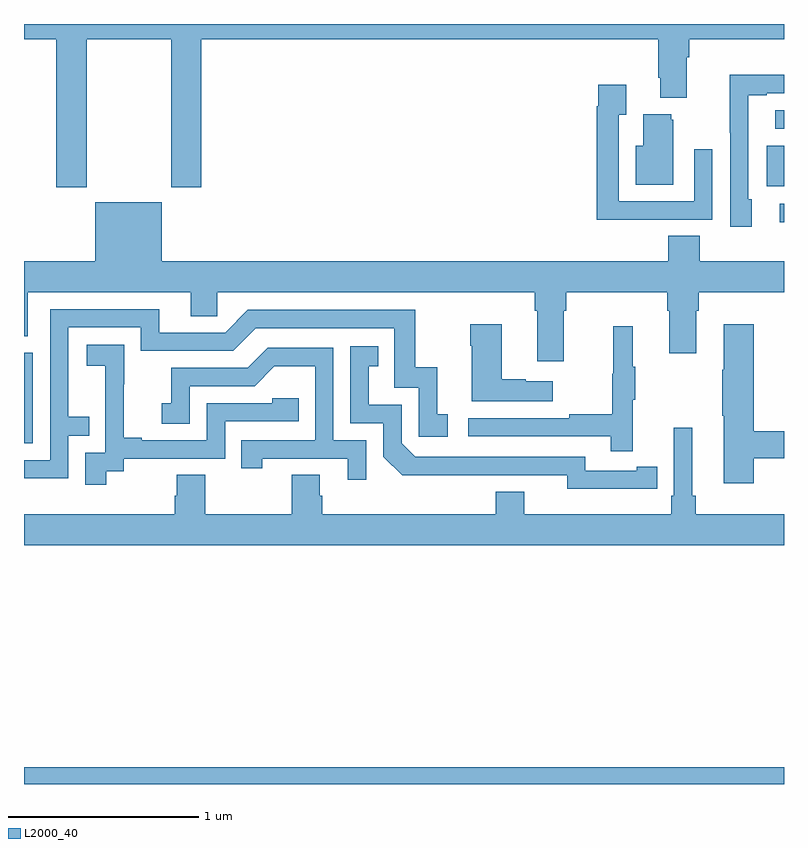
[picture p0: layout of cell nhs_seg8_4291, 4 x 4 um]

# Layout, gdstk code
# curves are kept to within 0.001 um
import gdstk
lib = gdstk.Library(unit=1e-6, precision=1e-09)
def R(c, l, rs):  # rectangles x0, y0, x1, y1
    for r in rs: c.add(gdstk.rectangle(r[:2], r[2:], *l))
def P(c, l, *ps):  # polygons
    for p in ps: c.add(gdstk.Polygon(p, *l))
L2000_40 = (2000, 40)

nhs_seg8_4291 = lib.new_cell('nhs_seg8_4291')
R(nhs_seg8_4291, L2000_40, [(373,1125.9,377,1125.988), (373,1127.694,373.047,1128.171), (376.977,1128.857,377,1128.954), (376.91,1129.046,377,1129.258), (376.953,1129.35,377,1129.446)])
P(nhs_seg8_4291, L2000_40, [(373.329,1129.82),(373.774,1129.82),(373.774,1129.041),(373.934,1129.041),(373.934,1129.82),(376.337,1129.82),(376.337,1129.618),(376.349,1129.618),(376.349,1129.511),(376.489,1129.511),(376.489,1129.724),(376.502,1129.724),(376.502,1129.82),(377,1129.82),(377,1129.9),(373,1129.9),(373,1129.82),(373.169,1129.82),(373.169,1129.041),(373.329,1129.041)],
  [(376.831,1128.978),(376.812,1128.978),(376.812,1129.524),(376.909,1129.524),(376.909,1129.536),(377,1129.536),(377,1129.634),(376.714,1129.634),(376.714,1129.327),(376.716,1129.327),(376.716,1128.834),(376.831,1128.834)],
  [(376.307,1128.87),(376.623,1128.87),(376.623,1129.24),(376.527,1129.24),(376.527,1128.966),(376.131,1128.966),(376.131,1129.423),(376.171,1129.423),(376.171,1129.579),(376.023,1129.579),(376.023,1129.466),(376.015,1129.466),(376.015,1128.869),(376.307,1128.869)],
  [(376.417,1129.395),(376.406,1129.395),(376.406,1129.426),(376.259,1129.426),(376.259,1129.258),(376.22,1129.258),(376.22,1129.055),(376.417,1129.055)],
  [(375.841,1128.392),(375.854,1128.392),(375.854,1128.488),(376.385,1128.488),(376.385,1128.392),(376.397,1128.392),(376.397,1128.168),(376.537,1128.168),(376.537,1128.392),(376.55,1128.392),(376.55,1128.488),(377,1128.488),(377,1128.652),(376.556,1128.652),(376.556,1128.785),(376.391,1128.785),(376.391,1128.652),(373.726,1128.652),(373.726,1128.961),(373.376,1128.961),(373.376,1128.652),(373,1128.652),(373,1128.256),(373.021,1128.256),(373.021,1128.488),(373.877,1128.488),(373.877,1128.361),(374.016,1128.361),(374.016,1128.488),(375.689,1128.488),(375.689,1128.392),(375.701,1128.392),(375.701,1128.126),(375.841,1128.126)],
  [(373.233,1127.733),(373.343,1127.733),(373.343,1127.834),(373.233,1127.834),(373.233,1128.303),(373.614,1128.303),(373.614,1128.18),(374.1,1128.18),(374.22,1128.3),(374.949,1128.3),(374.949,1127.985),(375.078,1127.985),(375.078,1127.727),(375.229,1127.727),(375.229,1127.847),(375.176,1127.847),(375.176,1128.094),(375.058,1128.094),(375.058,1128.396),(374.178,1128.396),(374.058,1128.276),(373.711,1128.276),(373.711,1128.399),(373.137,1128.399),(373.137,1127.604),(373,1127.604),(373,1127.508),(373.233,1127.508)],
  [(376.841,1127.614),(377,1127.614),(377,1127.756),(376.841,1127.756),(376.841,1128.319),(376.682,1128.319),(376.682,1128.08),(376.675,1128.08),(376.675,1127.839),(376.682,1127.839),(376.682,1127.484),(376.841,1127.484)],
  [(375.784,1128.019),(375.641,1128.019),(375.641,1128.029),(375.514,1128.029),(375.514,1128.319),(375.349,1128.319),(375.349,1128.206),(375.356,1128.206),(375.356,1127.915),(375.784,1127.915)],
  [(376.205,1127.923),(376.216,1127.923),(376.216,1128.097),(376.205,1128.097),(376.205,1128.31),(376.102,1128.31),(376.102,1128.06),(376.095,1128.06),(376.095,1127.846),(375.871,1127.846),(375.871,1127.826),(375.339,1127.826),(375.339,1127.73),(376.087,1127.73),(376.087,1127.652),(376.205,1127.652)],
  [(373.432,1127.545),(373.524,1127.545),(373.524,1127.613),(374.058,1127.613),(374.058,1127.808),(374.447,1127.808),(374.447,1127.931),(374.307,1127.931),(374.307,1127.904),(373.962,1127.904),(373.962,1127.709),(373.621,1127.709),(373.621,1127.722),(373.526,1127.722),(373.526,1128.005),(373.527,1128.005),(373.527,1128.211),(373.329,1128.211),(373.329,1128.101),(373.427,1128.101),(373.427,1127.873),(373.428,1127.873),(373.428,1127.643),(373.323,1127.643),(373.323,1127.475),(373.432,1127.475)],
  [(376.226,1127.454),(376.334,1127.454),(376.334,1127.57),(376.226,1127.57),(376.226,1127.55),(375.954,1127.55),(375.954,1127.622),(375.06,1127.622),(374.988,1127.694),(374.988,1127.895),(374.815,1127.895),(374.815,1128.099),(374.864,1128.099),(374.864,1128.205),(374.718,1128.205),(374.718,1127.799),(374.892,1127.799),(374.892,1127.622),(374.99,1127.525),(375.858,1127.526),(375.858,1127.453)],
  [(374.802,1127.709),(374.628,1127.709),(374.628,1128.195),(374.282,1128.195),(374.177,1128.09),(373.774,1128.09),(373.774,1127.905),(373.725,1127.905),(373.725,1127.796),(373.872,1127.796),(373.872,1127.994),(374.214,1127.994),(374.318,1128.098),(374.532,1128.098),(374.532,1127.709),(374.143,1127.709),(374.143,1127.562),(374.254,1127.562),(374.254,1127.613),(374.705,1127.613),(374.705,1127.502),(374.802,1127.502)],
  [(377,1127.32),(376.535,1127.32),(376.535,1127.416),(376.516,1127.416),(376.516,1127.776),(376.419,1127.776),(376.419,1127.416),(376.406,1127.416),(376.406,1127.32),(375.634,1127.32),(375.634,1127.437),(375.482,1127.437),(375.482,1127.32),(374.57,1127.32),(374.57,1127.418),(374.557,1127.418),(374.557,1127.528),(374.41,1127.528),(374.41,1127.32),(373.953,1127.32),(373.953,1127.528),(373.805,1127.528),(373.805,1127.418),(373.793,1127.418),(373.793,1127.32),(373,1127.32),(373,1127.156),(377,1127.156)])

lib.write_gds('nhs_seg8_4291.gds')
